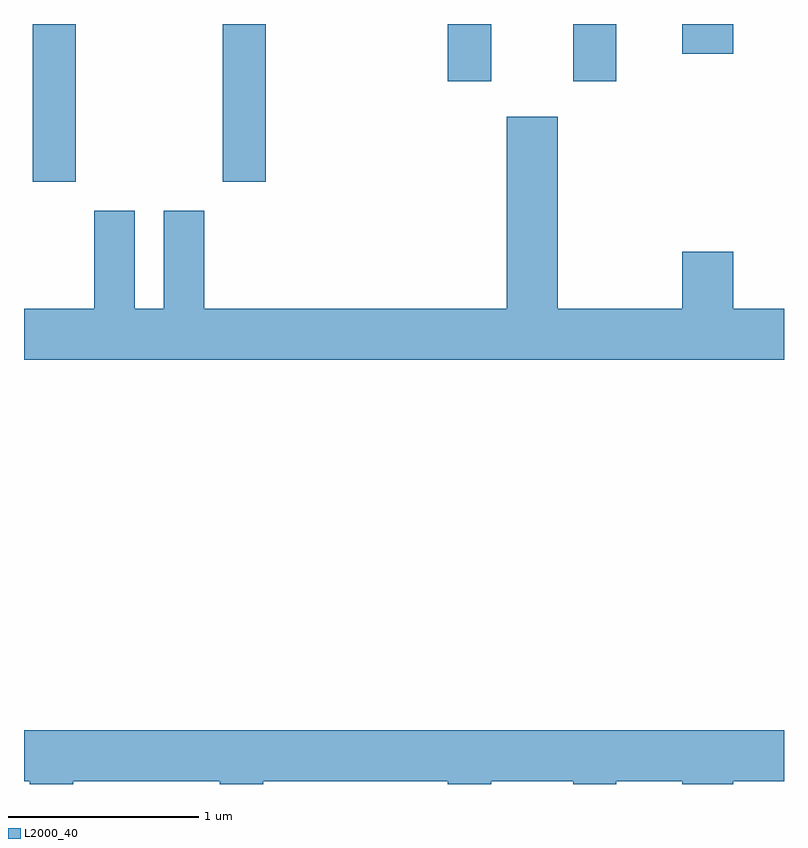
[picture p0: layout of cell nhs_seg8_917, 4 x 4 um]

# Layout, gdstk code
import gdstk
lib = gdstk.Library(unit=1e-6, precision=1e-09)
def R(c, l, rs):  # rectangles x0, y0, x1, y1
    for r in rs: c.add(gdstk.rectangle(r[:2], r[2:], *l))
def P(c, l, *ps):  # polygons
    for p in ps: c.add(gdstk.Polygon(p, *l))
L2000_40 = (2000, 40)

nhs_seg8_917 = lib.new_cell('nhs_seg8_917')
R(nhs_seg8_917, L2000_40, [(211.656,1899.511,211.884,1900.342), (212.656,1899.511,212.884,1900.342), (213.841,1900.041,214.069,1900.342), (214.501,1900.041,214.729,1900.342), (215.076,1900.186,215.344,1900.342)])
P(nhs_seg8_917, L2000_40, [(215.611,1898.844),(215.344,1898.844),(215.344,1899.144),(215.076,1899.144),(215.076,1898.844),(214.419,1898.844),(214.419,1899.854),(214.151,1899.854),(214.151,1898.844),(212.559,1898.844),(212.559,1899.359),(212.346,1899.359),(212.346,1898.844),(212.194,1898.844),(212.194,1899.359),(211.981,1899.359),(211.981,1898.844),(211.611,1898.844),(211.611,1898.576),(215.611,1898.576)],
  [(211.869,1896.356),(212.641,1896.356),(212.641,1896.342),(212.869,1896.342),(212.869,1896.356),(213.841,1896.356),(213.841,1896.342),(214.069,1896.342),(214.069,1896.356),(214.501,1896.356),(214.501,1896.342),(214.729,1896.342),(214.729,1896.356),(215.076,1896.356),(215.076,1896.342),(215.344,1896.342),(215.344,1896.356),(215.611,1896.356),(215.611,1896.624),(211.611,1896.624),(211.611,1896.356),(211.641,1896.356),(211.641,1896.342),(211.869,1896.342)])

lib.write_gds('nhs_seg8_917.gds')
